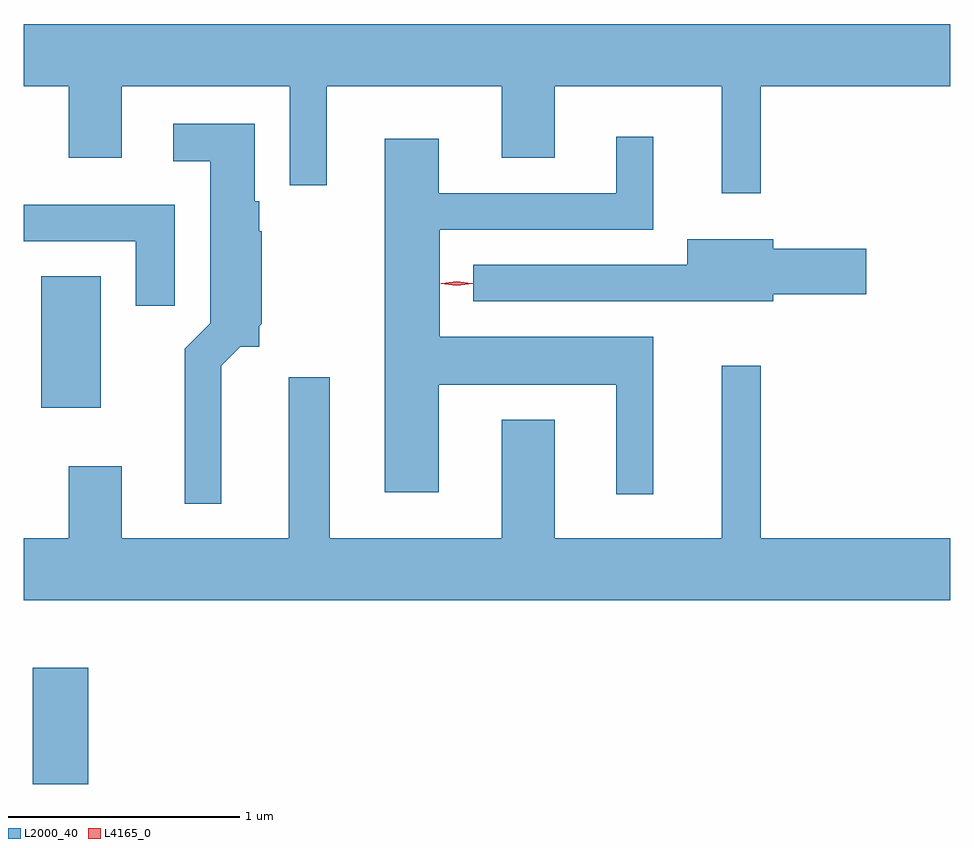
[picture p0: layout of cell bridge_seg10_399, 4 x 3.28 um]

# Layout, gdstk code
import gdstk
lib = gdstk.Library(unit=1e-6, precision=1e-09)
def R(c, l, rs):  # rectangles x0, y0, x1, y1
    for r in rs: c.add(gdstk.rectangle(r[:2], r[2:], *l))
def P(c, l, *ps):  # polygons
    for p in ps: c.add(gdstk.Polygon(p, *l))
L2000_40 = (2000, 40)
L4165_0 = (4165, 0)

bridge_seg10_399 = lib.new_cell('bridge_seg10_399')
R(bridge_seg10_399, L2000_40, [(1364.106,2108.682,1364.344,2109.184), (1364.141,2110.306,1364.399,2110.874)])
P(bridge_seg10_399, L2000_40, [(1364.067,2111.696),(1364.261,2111.696),(1364.261,2111.386),(1364.489,2111.386),(1364.489,2111.696),(1365.216,2111.696),(1365.216,2111.268),(1365.374,2111.268),(1365.374,2111.696),(1366.131,2111.696),(1366.131,2111.386),(1366.359,2111.386),(1366.359,2111.696),(1367.081,2111.696),(1367.081,2111.233),(1367.249,2111.233),(1367.249,2111.696),(1368.067,2111.696),(1368.067,2111.964),(1364.067,2111.964)],
  [(1364.919,2110.489),(1365.002,2110.571),(1365.084,2110.571),(1365.084,2110.659),(1365.094,2110.669),(1365.094,2111.07),(1365.084,2111.07),(1365.084,2111.199),(1365.064,2111.199),(1365.064,2111.534),(1364.713,2111.534),(1364.713,2111.371),(1364.871,2111.371),(1364.871,2110.672),(1364.761,2110.562),(1364.761,2109.893),(1364.919,2109.893)],
  [(1366.784,2110.614),(1365.864,2110.614),(1365.864,2111.076),(1366.784,2111.076),(1366.784,2111.478),(1366.626,2111.478),(1366.626,2111.234),(1365.859,2111.234),(1365.859,2111.469),(1365.626,2111.469),(1365.626,2109.941),(1365.859,2109.941),(1365.859,2110.406),(1366.626,2110.406),(1366.626,2109.933),(1366.784,2109.933)],
  [(1364.719,2111.184),(1364.067,2111.184),(1364.067,2111.026),(1364.551,2111.026),(1364.551,2110.748),(1364.719,2110.748)],
  [(1367.304,2110.796),(1367.704,2110.796),(1367.704,2110.994),(1367.304,2110.994),(1367.304,2111.034),(1366.931,2111.034),(1366.931,2110.924),(1366.008,2110.924),(1366.008,2110.766),(1367.304,2110.766)],
  [(1368.067,2109.744),(1367.249,2109.744),(1367.249,2110.488),(1367.081,2110.488),(1367.081,2109.744),(1366.359,2109.744),(1366.359,2110.254),(1366.131,2110.254),(1366.131,2109.744),(1365.389,2109.744),(1365.389,2110.439),(1365.211,2110.439),(1365.211,2109.744),(1364.489,2109.744),(1364.489,2110.054),(1364.261,2110.054),(1364.261,2109.744),(1364.067,2109.744),(1364.067,2109.476),(1368.067,2109.476)])
P(bridge_seg10_399, L4165_0, [(1365.937,2110.833),(1365.868,2110.842),(1365.867,2110.843),(1365.868,2110.843),(1365.937,2110.853),(1366.006,2110.843),(1366.006,2110.843),(1366.006,2110.842)],
  [(1365.937,2110.834),(1365.871,2110.843),(1365.87,2110.844),(1365.871,2110.844),(1365.937,2110.854),(1366.002,2110.844),(1366.003,2110.844),(1366.002,2110.843)])

lib.write_gds('bridge_seg10_399.gds')
